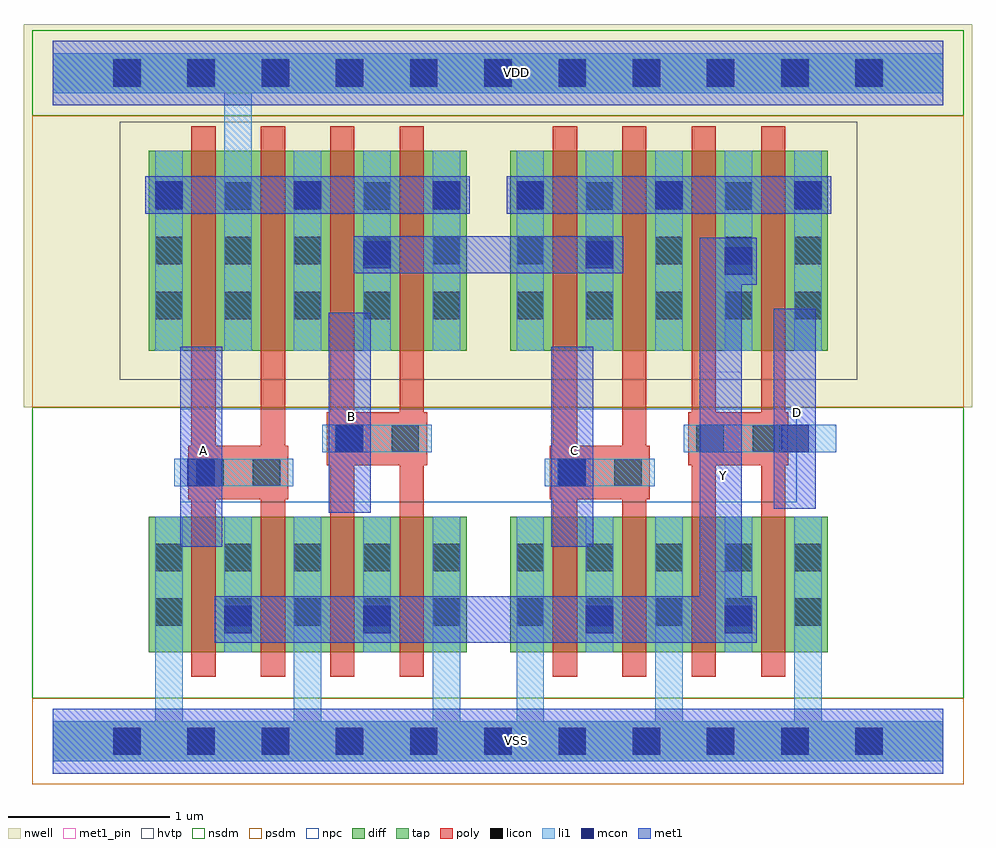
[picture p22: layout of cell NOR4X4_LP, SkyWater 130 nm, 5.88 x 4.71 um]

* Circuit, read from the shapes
.subckt NOR4X4_LP A B C D VDD VSS Y
XM1 Y A VSS VSS sky130_fd_pr__nfet_01v8 w=0.84 l=0.15 m=2
XM2 Y B VSS VSS sky130_fd_pr__nfet_01v8 w=0.84 l=0.15 m=2
XM3 Y C VSS VSS sky130_fd_pr__nfet_01v8 w=0.84 l=0.15 m=2
XM4 Y D VSS VSS sky130_fd_pr__nfet_01v8 w=0.84 l=0.15 m=2
XM5 VDD A n1 VDD sky130_fd_pr__pfet_01v8_hvt w=1.24 l=0.15 m=2
XM6 n2 B n1 VDD sky130_fd_pr__pfet_01v8_hvt w=1.24 l=0.15 m=2
XM7 n2 C n3 VDD sky130_fd_pr__pfet_01v8_hvt w=1.24 l=0.15 m=2
XM8 Y D n3 VDD sky130_fd_pr__pfet_01v8_hvt w=1.24 l=0.15 m=2
.ends

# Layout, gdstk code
import gdstk
lib = gdstk.Library(unit=1e-6, precision=1e-09)
def R(c, l, rs):  # rectangles x0, y0, x1, y1
    for r in rs: c.add(gdstk.rectangle(r[:2], r[2:], *l))
def A(c, l, x, y, w, h, nx, ny, dx, dy):  # array of equal rectangles
    R(c, l, [(x+i*dx, y+j*dy, x+i*dx+w, y+j*dy+h) for i in range(nx) for j in range(ny)])
def P(c, l, *ps):  # polygons
    for p in ps: c.add(gdstk.Polygon(p, *l))
nwell = (64, 20)
diff = (65, 20)
tap = (65, 44)
poly = (66, 20)
licon = (66, 44)
li1 = (67, 20)
mcon = (67, 44)
met1_pin = (68, 16)
met1 = (68, 20)
hvtp = (78, 44)
nsdm = (93, 44)
psdm = (94, 20)
npc = (95, 20)

l1m1_c_cdns_752016907001 = lib.new_cell('L1M1_C_CDNS_752016907001')
R(l1m1_c_cdns_752016907001, li1, [(-0.085,-0.165,0.085,0.165)])
R(l1m1_c_cdns_752016907001, mcon, [(-0.085,-0.085,0.085,0.085)])
R(l1m1_c_cdns_752016907001, met1, [(-0.115,-0.145,0.115,0.145)])

l1m1_c_cdns_752016907006 = lib.new_cell('L1M1_C_CDNS_752016907006')
R(l1m1_c_cdns_752016907006, li1, [(-0.085,-0.165,0.085,0.165)])
R(l1m1_c_cdns_752016907006, mcon, [(-0.085,-0.085,0.085,0.085)])
R(l1m1_c_cdns_752016907006, met1, [(-0.145,-0.115,0.145,0.115)])

pyl1con_c_cdns_752016907 = lib.new_cell('PYL1CON_C_CDNS_752016907000')
R(pyl1con_c_cdns_752016907, poly, [(-0.135,-0.165,0.135,0.165)])
R(pyl1con_c_cdns_752016907, licon, [(-0.085,-0.085,0.085,0.085)])
R(pyl1con_c_cdns_752016907, npc, [(-0.185,-0.185,0.185,0.185)])

l1m1_c_cdns_752016907003 = lib.new_cell('L1M1_C_CDNS_752016907003')
R(l1m1_c_cdns_752016907003, li1, [(-0.165,-0.085,0.165,0.085)])
R(l1m1_c_cdns_752016907003, mcon, [(-0.085,-0.085,0.085,0.085)])
R(l1m1_c_cdns_752016907003, met1, [(-0.115,-0.145,0.115,0.145)])

nor4x4_lp = lib.new_cell('NOR4X4_LP')
R(nor4x4_lp, nwell, [(-0.18,2.07,5.7,4.445)])
R(nor4x4_lp, diff, [(0.595,0.55,2.565,1.39), (2.835,0.55,4.805,1.39), (0.595,2.42,2.565,3.66), (2.835,2.42,4.805,3.66)])
P(nor4x4_lp, poly, [(1.46,1.83),(1.44,1.83),(1.44,3.81),(1.29,3.81),(1.29,1.83),(1.01,1.83),(1.01,3.81),(0.86,3.81),(0.86,1.83),(0.84,1.83),(0.84,1.5),(0.86,1.5),(0.86,0.4),(1.01,0.4),(1.01,1.5),(1.29,1.5),(1.29,0.4),(1.44,0.4),(1.44,1.5),(1.46,1.5)],
  [(2.32,2.04),(2.3,2.04),(2.3,3.81),(2.15,3.81),(2.15,2.04),(1.87,2.04),(1.87,3.81),(1.72,3.81),(1.72,2.04),(1.7,2.04),(1.7,1.71),(1.72,1.71),(1.72,0.4),(1.87,0.4),(1.87,1.71),(2.15,1.71),(2.15,0.4),(2.3,0.4),(2.3,1.71),(2.32,1.71)],
  [(3.7,1.83),(3.68,1.83),(3.68,3.81),(3.53,3.81),(3.53,1.83),(3.25,1.83),(3.25,3.81),(3.1,3.81),(3.1,1.83),(3.08,1.83),(3.08,1.5),(3.1,1.5),(3.1,0.4),(3.25,0.4),(3.25,1.5),(3.53,1.5),(3.53,0.4),(3.68,0.4),(3.68,1.5),(3.7,1.5)],
  [(4.56,2.04),(4.54,2.04),(4.54,3.81),(4.39,3.81),(4.39,2.04),(4.11,2.04),(4.11,3.81),(3.96,3.81),(3.96,2.04),(3.94,2.04),(3.94,1.71),(3.96,1.71),(3.96,0.4),(4.11,0.4),(4.11,1.71),(4.39,1.71),(4.39,0.4),(4.54,0.4),(4.54,1.71),(4.56,1.71)])
A(nor4x4_lp, licon, 0.375, -0.085, 0.17, 0.17, 11, 2, 0.46, 4.14)
A(nor4x4_lp, licon, 0.635, 0.715, 0.17, 0.17, 5, 2, 0.43, 0.34)
A(nor4x4_lp, licon, 2.875, 0.715, 0.17, 0.17, 5, 2, 0.43, 0.34)
A(nor4x4_lp, licon, 0.635, 2.615, 0.17, 0.17, 5, 3, 0.43, 0.34)
A(nor4x4_lp, licon, 2.875, 2.615, 0.17, 0.17, 5, 3, 0.43, 0.34)
A(nor4x4_lp, li1, 1.495, 2.42, 0.17, 1.24, 3, 1, 0.43, 0)
A(nor4x4_lp, li1, 2.875, 2.42, 0.17, 1.24, 5, 1, 0.43, 0)
R(nor4x4_lp, li1, [(1.065,0.55,1.235,1.39), (1.925,0.55,2.095,1.39), (3.305,0.55,3.475,1.39), (4.165,0.55,4.335,1.39), (0.635,2.42,0.805,3.66)])
P(nor4x4_lp, li1, [(5.52,4.265),(0,4.265),(0,4.015),(1.065,4.015),(1.065,2.42),(1.235,2.42),(1.235,4.015),(5.52,4.015)],
  [(5.52,0.125),(4.765,0.125),(4.765,1.39),(4.595,1.39),(4.595,0.125),(3.905,0.125),(3.905,1.39),(3.735,1.39),(3.735,0.125),(3.045,0.125),(3.045,1.39),(2.875,1.39),(2.875,0.125),(2.525,0.125),(2.525,1.39),(2.355,1.39),(2.355,0.125),(1.665,0.125),(1.665,1.39),(1.495,1.39),(1.495,0.125),(0.805,0.125),(0.805,1.39),(0.635,1.39),(0.635,0.125),(0,0.125),(0,-0.125),(5.52,-0.125)])
A(nor4x4_lp, mcon, 0.375, -0.085, 0.17, 0.17, 11, 2, 0.46, 4.14)
R(nor4x4_lp, met1_pin, [(4.01,1.05,4.27,2.29), (0.79,1.205,1.05,2.445), (3.09,1.205,3.35,2.445), (1.71,1.415,1.97,2.655), (4.47,1.44,4.73,2.68)])
P(nor4x4_lp, met1, [(4.365,0.9),(4.27,0.9),(4.27,3.12),(4.01,3.12),(4.01,0.9),(1.005,0.9),(1.005,0.61),(4.365,0.61)])
R(nor4x4_lp, hvtp, [(0.415,2.24,4.985,3.84)])
R(nor4x4_lp, nsdm, [(-0.125,0.265,5.645,2.07), (-0.125,3.875,5.645,4.405)])
R(nor4x4_lp, psdm, [(-0.125,-0.265,5.645,0.265), (-0.125,2.07,5.645,3.875)])
R(nor4x4_lp, npc, [(0.79,1.48,4.61,2.06)])
nor4x4_lp.add(gdstk.FlexPath([(1.67,1.875),(2.35,1.875)], 0.17, ends="flush", simple_path=True, layer=67, datatype=20))  # li1
nor4x4_lp.add(gdstk.FlexPath([(3.91,1.875),(4.855,1.875)], 0.17, ends="flush", simple_path=True, layer=67, datatype=20))  # li1
nor4x4_lp.add(gdstk.FlexPath([(3.05,1.665),(3.73,1.665)], 0.17, ends="flush", simple_path=True, layer=67, datatype=20))  # li1
nor4x4_lp.add(gdstk.FlexPath([(0.81,1.665),(1.49,1.665)], 0.17, ends="flush", simple_path=True, layer=67, datatype=20))  # li1
nor4x4_lp.add(gdstk.FlexPath([(0,4.14),(5.52,4.14)], 0.4, ends="flush", simple_path=True, layer=68, datatype=16))  # met1_pin
nor4x4_lp.add(gdstk.FlexPath([(0,0),(5.52,0)], 0.4, ends="flush", simple_path=True, layer=68, datatype=16))  # met1_pin
nor4x4_lp.add(gdstk.FlexPath([(0,4.14),(5.52,4.14)], 0.4, ends="flush", simple_path=True, layer=68, datatype=20))  # met1
nor4x4_lp.add(gdstk.FlexPath([(0,0),(5.52,0)], 0.4, ends="flush", simple_path=True, layer=68, datatype=20))  # met1
nor4x4_lp.add(gdstk.FlexPath([(0.92,1.205),(0.92,2.445)], 0.26, ends="flush", simple_path=True, layer=68, datatype=20))  # met1
nor4x4_lp.add(gdstk.FlexPath([(4.825,3.385),(2.815,3.385)], 0.23, ends="flush", simple_path=True, layer=68, datatype=20))  # met1
nor4x4_lp.add(gdstk.FlexPath([(2.585,3.385),(0.575,3.385)], 0.23, ends="flush", simple_path=True, layer=68, datatype=20))  # met1
nor4x4_lp.add(gdstk.FlexPath([(4.6,1.44),(4.6,2.68)], 0.26, ends="flush", simple_path=True, layer=68, datatype=20))  # met1
nor4x4_lp.add(gdstk.FlexPath([(3.22,1.205),(3.22,2.445)], 0.26, ends="flush", simple_path=True, layer=68, datatype=20))  # met1
nor4x4_lp.add(gdstk.FlexPath([(1.84,1.415),(1.84,2.655)], 0.26, ends="flush", simple_path=True, layer=68, datatype=20))  # met1
nor4x4_lp.add(gdstk.FlexPath([(3.535,3.015),(1.865,3.015)], 0.23, ends="flush", simple_path=True, layer=68, datatype=20))  # met1
nor4x4_lp.add(gdstk.FlexPath([(0,4.14),(5.52,4.14)], 0.25, ends="flush", simple_path=True, layer=65, datatype=44))  # tap
nor4x4_lp.add(gdstk.FlexPath([(0,0),(5.52,0)], 0.25, ends="flush", simple_path=True, layer=65, datatype=44))  # tap
nor4x4_lp.add(gdstk.Reference(l1m1_c_cdns_752016907001, (4.25,2.975)))
nor4x4_lp.add(gdstk.Reference(l1m1_c_cdns_752016907001, (4.25,0.755)))
nor4x4_lp.add(gdstk.Reference(l1m1_c_cdns_752016907001, (3.39,0.755)))
nor4x4_lp.add(gdstk.Reference(l1m1_c_cdns_752016907001, (2.01,0.755)))
nor4x4_lp.add(gdstk.Reference(l1m1_c_cdns_752016907001, (1.15,0.755)))
nor4x4_lp.add(gdstk.Reference(l1m1_c_cdns_752016907006, (3.39,3.015)))
nor4x4_lp.add(gdstk.Reference(l1m1_c_cdns_752016907006, (2.01,3.015)))
nor4x4_lp.add(gdstk.Reference(l1m1_c_cdns_752016907006, (2.96,3.385)))
nor4x4_lp.add(gdstk.Reference(l1m1_c_cdns_752016907006, (3.82,3.385)))
nor4x4_lp.add(gdstk.Reference(l1m1_c_cdns_752016907006, (4.68,3.385)))
nor4x4_lp.add(gdstk.Reference(l1m1_c_cdns_752016907006, (2.44,3.385)))
nor4x4_lp.add(gdstk.Reference(l1m1_c_cdns_752016907006, (1.58,3.385)))
nor4x4_lp.add(gdstk.Reference(l1m1_c_cdns_752016907006, (0.72,3.385)))
nor4x4_lp.add(gdstk.Reference(pyl1con_c_cdns_752016907, (3.215,1.665)))
nor4x4_lp.add(gdstk.Reference(pyl1con_c_cdns_752016907, (3.565,1.665)))
nor4x4_lp.add(gdstk.Reference(pyl1con_c_cdns_752016907, (4.075,1.875)))
nor4x4_lp.add(gdstk.Reference(pyl1con_c_cdns_752016907, (4.425,1.875)))
nor4x4_lp.add(gdstk.Reference(pyl1con_c_cdns_752016907, (2.185,1.875)))
nor4x4_lp.add(gdstk.Reference(pyl1con_c_cdns_752016907, (1.835,1.875)))
nor4x4_lp.add(gdstk.Reference(pyl1con_c_cdns_752016907, (1.325,1.665)))
nor4x4_lp.add(gdstk.Reference(pyl1con_c_cdns_752016907, (0.975,1.665)))
nor4x4_lp.add(gdstk.Reference(l1m1_c_cdns_752016907003, (4.6,1.875), x_reflection=True))
nor4x4_lp.add(gdstk.Reference(l1m1_c_cdns_752016907003, (3.22,1.665), x_reflection=True))
nor4x4_lp.add(gdstk.Reference(l1m1_c_cdns_752016907003, (1.84,1.875), x_reflection=True))
nor4x4_lp.add(gdstk.Reference(l1m1_c_cdns_752016907003, (0.92,1.665), x_reflection=True))
nor4x4_lp.add(gdstk.Label('VDD', (2.875,4.145), layer=68, texttype=5))
nor4x4_lp.add(gdstk.Label('D', (4.615,2.035), layer=68, texttype=5))
nor4x4_lp.add(gdstk.Label('C', (3.235,1.8), layer=68, texttype=5))
nor4x4_lp.add(gdstk.Label('B', (1.855,2.01), layer=68, texttype=5))
nor4x4_lp.add(gdstk.Label('A', (0.935,1.8), layer=68, texttype=5))
nor4x4_lp.add(gdstk.Label('Y', (4.155,1.645), layer=68, texttype=5))
nor4x4_lp.add(gdstk.Label('VSS', (2.875,0.005), layer=68, texttype=5))

lib.write_gds('NOR4X4_LP.gds')
